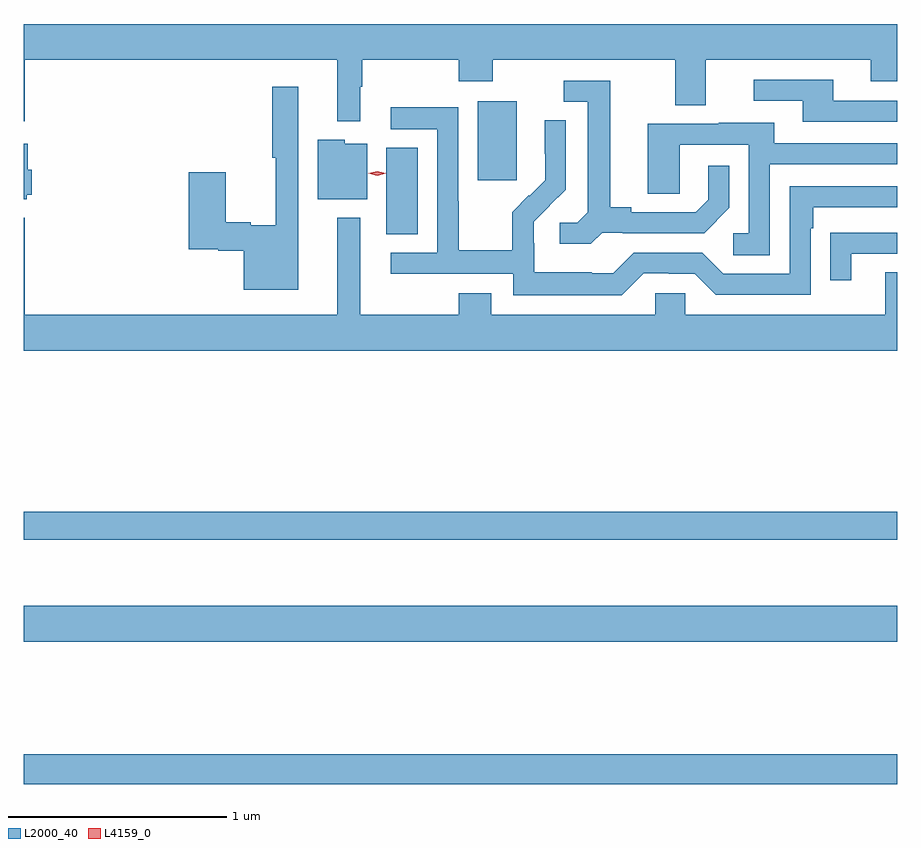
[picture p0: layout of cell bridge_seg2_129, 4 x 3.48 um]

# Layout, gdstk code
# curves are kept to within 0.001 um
import gdstk
lib = gdstk.Library(unit=1e-6, precision=1e-09)
def R(c, l, rs):  # rectangles x0, y0, x1, y1
    for r in rs: c.add(gdstk.rectangle(r[:2], r[2:], *l))
def P(c, l, *ps):  # polygons
    for p in ps: c.add(gdstk.Polygon(p, *l))
L2000_40 = (2000, 40)
L4159_0 = (4159, 0)

bridge_seg2_129 = lib.new_cell('bridge_seg2_129')
R(bridge_seg2_129, L2000_40, [(443.631,595.036,447.631,595.172), (443.631,595.688,447.631,595.852), (443.631,596.154,447.631,596.282), (445.292,597.553,445.435,597.95), (445.709,597.801,445.888,598.162)])
P(bridge_seg2_129, L2000_40, [(443.635,598.352),(445.067,598.352),(445.067,598.071),(445.171,598.071),(445.171,598.228),(445.181,598.228),(445.181,598.352),(445.624,598.352),(445.624,598.253),(445.779,598.253),(445.779,598.352),(446.615,598.352),(446.615,598.144),(446.755,598.144),(446.755,598.352),(447.509,598.352),(447.509,598.253),(447.631,598.253),(447.631,598.516),(443.631,598.516),(443.631,598.071),(443.635,598.071)],
  [(447.631,598.164),(447.337,598.164),(447.337,598.26),(446.973,598.26),(446.973,598.164),(447.197,598.164),(447.197,598.068),(447.631,598.068)],
  [(446.28,597.561),(446.374,597.561),(446.374,597.558),(446.746,597.558),(446.862,597.674),(446.862,597.868),(446.765,597.868),(446.765,597.711),(446.708,597.654),(446.413,597.654),(446.413,597.677),(446.317,597.677),(446.317,598.257),(446.103,598.257),(446.103,598.161),(446.213,598.161),(446.213,597.653),(446.166,597.606),(446.085,597.606),(446.085,597.509),(446.228,597.509)],
  [(444.889,598.228),(444.768,598.228),(444.768,597.903),(444.785,597.903),(444.785,597.595),(444.671,597.595),(444.671,597.608),(444.556,597.608),(444.556,597.838),(444.386,597.838),(444.386,597.485),(444.522,597.485),(444.522,597.478),(444.638,597.478),(444.638,597.299),(444.889,597.299)],
  [(446.469,597.375),(446.585,597.375),(446.585,597.372),(446.703,597.372),(446.799,597.276),(447.234,597.276),(447.234,597.581),(447.247,597.581),(447.247,597.678),(447.631,597.678),(447.631,597.774),(447.138,597.774),(447.138,597.372),(446.835,597.372),(446.739,597.468),(446.424,597.468),(446.331,597.375),(446.231,597.375),(446.231,597.379),(445.968,597.379),(445.968,597.513),(445.966,597.513),(445.966,597.61),(446.112,597.758),(446.112,598.076),(446.016,598.076),(446.016,597.922),(446.018,597.922),(446.018,597.8),(445.947,597.729),(445.944,597.732),(445.867,597.655),(445.867,597.481),(445.623,597.481),(445.623,597.704),(445.62,597.704),(445.62,598.134),(445.311,598.134),(445.311,598.035),(445.524,598.035),(445.524,597.468),(445.311,597.468),(445.311,597.372),(445.872,597.372),(445.872,597.275),(446.369,597.275)],
  [(447.048,597.873),(447.631,597.873),(447.631,597.969),(447.067,597.969),(447.067,598.063),(446.813,598.063),(446.813,598.059),(446.489,598.059),(446.489,597.739),(446.634,597.739),(446.634,597.963),(446.952,597.963),(446.952,597.558),(446.88,597.558),(446.88,597.457),(447.048,597.457)],
  [(445.204,597.967),(445.101,597.967),(445.101,597.985),(444.977,597.985),(444.977,597.713),(445.204,597.713)],
  [(443.646,597.735),(443.668,597.735),(443.668,597.849),(443.65,597.849),(443.65,597.967),(443.631,597.967),(443.631,597.713),(443.646,597.713)],
  [(447.631,597.379),(447.575,597.379),(447.575,597.184),(446.661,597.184),(446.661,597.282),(446.523,597.282),(446.523,597.184),(445.771,597.184),(445.771,597.283),(445.624,597.283),(445.624,597.184),(445.171,597.184),(445.171,597.628),(445.067,597.628),(445.067,597.184),(443.635,597.184),(443.635,597.628),(443.631,597.628),(443.631,597.02),(447.631,597.02)],
  [(447.421,597.465),(447.631,597.465),(447.631,597.561),(447.427,597.561),(447.427,597.56),(447.325,597.56),(447.325,597.342),(447.421,597.342)])
P(bridge_seg2_129, L4159_0, [(445.249,597.822),(445.209,597.832),(445.209,597.832),(445.209,597.832),(445.249,597.842),(445.29,597.833),(445.29,597.832),(445.29,597.832)])

lib.write_gds('bridge_seg2_129.gds')
